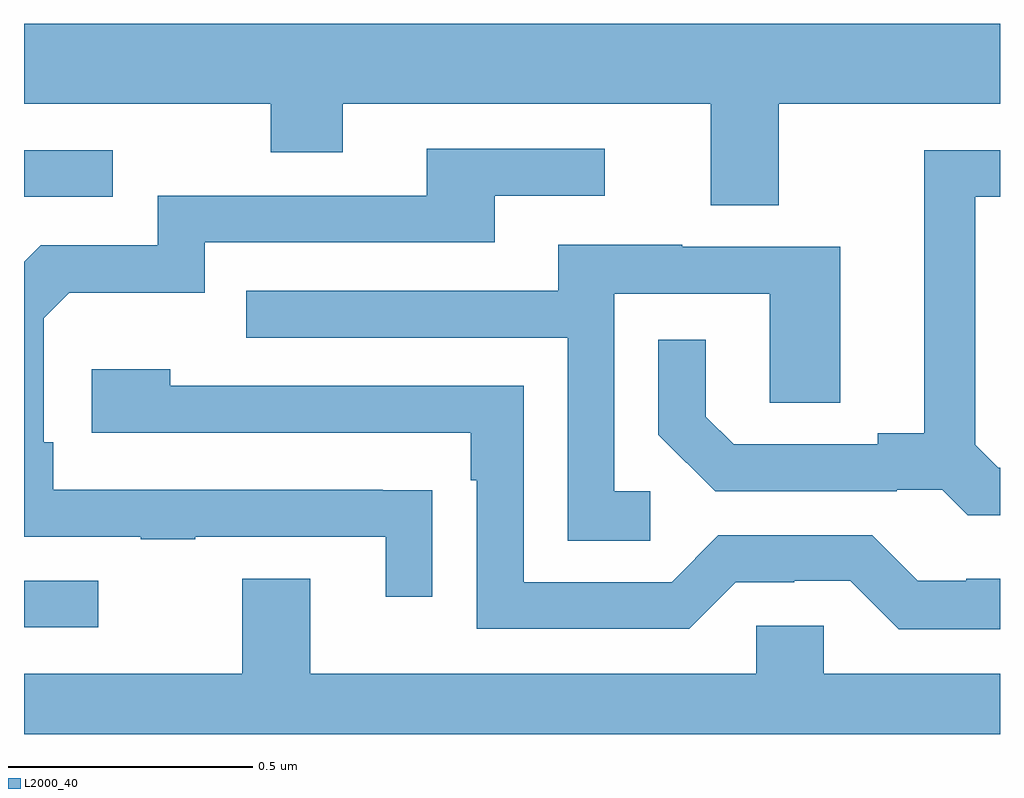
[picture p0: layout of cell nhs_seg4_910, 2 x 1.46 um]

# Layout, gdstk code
import gdstk
lib = gdstk.Library(unit=1e-6, precision=1e-09)
def R(c, l, rs):  # rectangles x0, y0, x1, y1
    for r in rs: c.add(gdstk.rectangle(r[:2], r[2:], *l))
def P(c, l, *ps):  # polygons
    for p in ps: c.add(gdstk.Polygon(p, *l))
L2000_40 = (2000, 40)

nhs_seg4_910 = lib.new_cell('nhs_seg4_910')
R(nhs_seg4_910, L2000_40, [(122,757.119,122.152,757.215), (122,758.001,122.182,758.097)])
P(nhs_seg4_910, L2000_40, [(123.547,758.192),(124,758.192),(124,758.356),(122,758.356),(122,758.192),(122.506,758.192),(122.506,758.093),(122.653,758.093),(122.653,758.192),(123.407,758.192),(123.407,757.984),(123.547,757.984)],
  [(122.837,757.4),(122.735,757.4),(122.735,757.401),(122.06,757.401),(122.06,757.498),(122.04,757.498),(122.04,757.752),(122.093,757.805),(122.37,757.805),(122.37,757.908),(122.965,757.908),(122.965,758.004),(123.19,758.004),(123.19,758.1),(122.825,758.1),(122.825,758.004),(122.274,758.004),(122.274,757.902),(122.034,757.902),(122,757.868),(122,757.305),(122.239,757.305),(122.239,757.3),(122.351,757.3),(122.351,757.305),(122.741,757.305),(122.741,757.182),(122.837,757.182)],
  [(124,757.446),(123.996,757.446),(123.949,757.493),(123.949,758.001),(124,758.001),(124,758.097),(123.845,758.097),(123.845,757.517),(123.749,757.517),(123.749,757.494),(123.454,757.494),(123.397,757.551),(123.397,757.708),(123.3,757.708),(123.3,757.514),(123.416,757.398),(123.788,757.398),(123.788,757.401),(123.882,757.401),(123.934,757.349),(124,757.349)],
  [(123.283,757.398),(123.21,757.398),(123.21,757.803),(123.528,757.803),(123.528,757.579),(123.673,757.579),(123.673,757.899),(123.349,757.899),(123.349,757.903),(123.095,757.903),(123.095,757.809),(122.455,757.809),(122.455,757.713),(123.114,757.713),(123.114,757.297),(123.283,757.297)],
  [(124,757.219),(123.931,757.219),(123.931,757.215),(123.831,757.215),(123.738,757.308),(123.423,757.308),(123.327,757.212),(123.024,757.212),(123.024,757.614),(122.3,757.614),(122.3,757.648),(122.139,757.648),(122.139,757.518),(122.915,757.518),(122.915,757.421),(122.928,757.421),(122.928,757.116),(123.363,757.116),(123.459,757.212),(123.578,757.212),(123.578,757.215),(123.693,757.215),(123.793,757.115),(124,757.115)],
  [(124,757.024),(123.639,757.024),(123.639,757.122),(123.501,757.122),(123.501,757.024),(122.587,757.024),(122.587,757.219),(122.447,757.219),(122.447,757.024),(122,757.024),(122,756.9),(124,756.9)])

lib.write_gds('nhs_seg4_910.gds')
